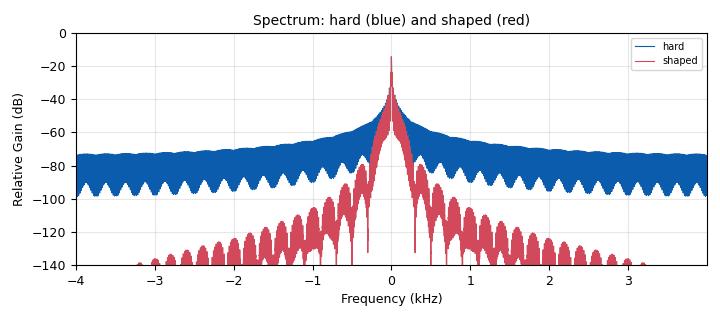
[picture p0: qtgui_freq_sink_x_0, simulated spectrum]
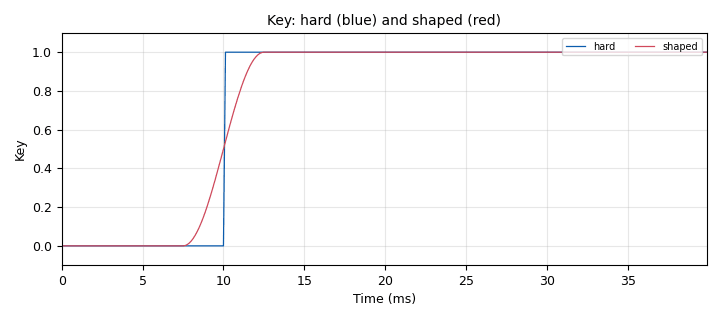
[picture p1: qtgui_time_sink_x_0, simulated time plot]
options:
  parameters:
    author: ECE 448
    description: 'L12: a Morse keyer, hard-keyed and with shaped edges, in time and in frequency. No hardware.'
    generate_options: qt_gui
    id: L12_cw_tx
    output_language: python
    title: L12 - CW Keyer
  states: {}

blocks:
- name: msg
  id: variable
  parameters:
    value: '''USAFA ECE 448'''
  states: {}
- name: rise
  id: variable_qtgui_range
  parameters:
    gui_hint: 0,1,1,1
    label: Edge time, shaped keyer (ms)
    start: '1'
    step: '0.5'
    stop: '10'
    value: '5'
  states: {}
- name: samp_rate
  id: variable
  parameters:
    value: '8000'
  states: {}
- name: wpm
  id: variable_qtgui_range
  parameters:
    gui_hint: 0,0,1,1
    label: Speed (WPM)
    start: '5'
    step: '1'
    stop: '40'
    value: '20'
  states: {}
- name: blocks_throttle2_0
  id: blocks_throttle2
  parameters:
    samples_per_second: samp_rate
    type: float
  states: {}
- name: blocks_throttle2_1
  id: blocks_throttle2
  parameters:
    samples_per_second: samp_rate
    type: float
  states: {}
- name: epy_block_0
  id: epy_block
  parameters:
    _source_code: |
      """Morse Keyer: repeats msg as Morse code, one float sample per sample
      period: 1 while the key is down and 0 while it is up. Each edge rises or
      falls along a raised cosine over rise_ms; rise_ms = 0 is hard keying.
      Timing follows the PARIS standard: a dit is one unit of 1.2/wpm seconds,
      a dah three, the gap inside a character one, between characters three,
      and between words seven."""

      import numpy as np
      from gnuradio import gr

      MORSE = {
          'A': '.-', 'B': '-...', 'C': '-.-.', 'D': '-..', 'E': '.', 'F': '..-.', 'G': '--.', 'H': '....',
          'I': '..', 'J': '.---', 'K': '-.-', 'L': '.-..', 'M': '--', 'N': '-.', 'O': '---', 'P': '.--.',
          'Q': '--.-', 'R': '.-.', 'S': '...', 'T': '-', 'U': '..-', 'V': '...-', 'W': '.--', 'X': '-..-',
          'Y': '-.--', 'Z': '--..', '0': '-----', '1': '.----', '2': '..---', '3': '...--', '4': '....-',
          '5': '.....', '6': '-....', '7': '--...', '8': '---..', '9': '----.', '.': '.-.-.-', ',': '--..--',
          '?': '..--..', '/': '-..-.', '=': '-...-', '-': '-....-',
      }


      class blk(gr.sync_block):
          def __init__(self, msg='PARIS', wpm=20.0, rise_ms=5.0, samp_rate=8000.0):
              gr.sync_block.__init__(self, name='Morse Keyer', in_sig=None, out_sig=[np.float32])
              self._msg, self._wpm, self._rise_ms, self.samp_rate = msg, wpm, rise_ms, samp_rate
              self.pos = 0
              self.build()

          # GRC assigns these when a slider or entry changes; each one rebuilds the
          # envelope and starts the message again.
          @property
          def msg(self): return self._msg
          @msg.setter
          def msg(self, v): self._msg = v; self.build()
          @property
          def wpm(self): return self._wpm
          @wpm.setter
          def wpm(self, v): self._wpm = v; self.build()
          @property
          def rise_ms(self): return self._rise_ms
          @rise_ms.setter
          def rise_ms(self, v): self._rise_ms = v; self.build()

          def build(self):
              units = []                                   # one 0 or 1 per unit
              for word in str(self._msg).upper().split():
                  for c in word:
                      for s in MORSE.get(c, ''):
                          units += [1] * (1 if s == '.' else 3) + [0]
                      units += [0, 0]                      # character gap: 3 units
                  units += [0] * 4                         # word gap: 7 units
              units = np.array(units or [0], dtype=np.float32)
              spu = 1.2 / self._wpm * self.samp_rate       # samples per unit
              n = int(round(len(units) * spu))
              key = units[np.minimum((np.arange(n) / spu).astype(int), len(units) - 1)]
              m = int(round(self._rise_ms * 1e-3 * self.samp_rate))
              if m >= 2:
                  # A half-sine pulse sums to a raised-cosine step, so filtering the
                  # hard-keyed waveform with it shapes every edge the same way.
                  h = np.sin(np.pi * (np.arange(m) + 0.5) / m)
                  h /= h.sum()
                  key = np.real(np.fft.ifft(np.fft.fft(key) * np.fft.fft(h, n)))
                  key = np.roll(key, -(m // 2)).astype(np.float32)
              self.env = key
              self.pos = 0

          def work(self, input_items, output_items):
              out = output_items[0]
              n, k = len(out), len(self.env)
              idx = (self.pos + np.arange(n)) % k
              out[:] = self.env[idx]
              self.pos = (self.pos + n) % k
              return n
    msg: msg
    rise_ms: '0'
    samp_rate: samp_rate
    wpm: wpm
  states: {}
- name: epy_block_1
  id: epy_block
  parameters:
    _source_code: |
      """Morse Keyer: repeats msg as Morse code, one float sample per sample
      period: 1 while the key is down and 0 while it is up. Each edge rises or
      falls along a raised cosine over rise_ms; rise_ms = 0 is hard keying.
      Timing follows the PARIS standard: a dit is one unit of 1.2/wpm seconds,
      a dah three, the gap inside a character one, between characters three,
      and between words seven."""

      import numpy as np
      from gnuradio import gr

      MORSE = {
          'A': '.-', 'B': '-...', 'C': '-.-.', 'D': '-..', 'E': '.', 'F': '..-.', 'G': '--.', 'H': '....',
          'I': '..', 'J': '.---', 'K': '-.-', 'L': '.-..', 'M': '--', 'N': '-.', 'O': '---', 'P': '.--.',
          'Q': '--.-', 'R': '.-.', 'S': '...', 'T': '-', 'U': '..-', 'V': '...-', 'W': '.--', 'X': '-..-',
          'Y': '-.--', 'Z': '--..', '0': '-----', '1': '.----', '2': '..---', '3': '...--', '4': '....-',
          '5': '.....', '6': '-....', '7': '--...', '8': '---..', '9': '----.', '.': '.-.-.-', ',': '--..--',
          '?': '..--..', '/': '-..-.', '=': '-...-', '-': '-....-',
      }


      class blk(gr.sync_block):
          def __init__(self, msg='PARIS', wpm=20.0, rise_ms=5.0, samp_rate=8000.0):
              gr.sync_block.__init__(self, name='Morse Keyer', in_sig=None, out_sig=[np.float32])
              self._msg, self._wpm, self._rise_ms, self.samp_rate = msg, wpm, rise_ms, samp_rate
              self.pos = 0
              self.build()

          # GRC assigns these when a slider or entry changes; each one rebuilds the
          # envelope and starts the message again.
          @property
          def msg(self): return self._msg
          @msg.setter
          def msg(self, v): self._msg = v; self.build()
          @property
          def wpm(self): return self._wpm
          @wpm.setter
          def wpm(self, v): self._wpm = v; self.build()
          @property
          def rise_ms(self): return self._rise_ms
          @rise_ms.setter
          def rise_ms(self, v): self._rise_ms = v; self.build()

          def build(self):
              units = []                                   # one 0 or 1 per unit
              for word in str(self._msg).upper().split():
                  for c in word:
                      for s in MORSE.get(c, ''):
                          units += [1] * (1 if s == '.' else 3) + [0]
                      units += [0, 0]                      # character gap: 3 units
                  units += [0] * 4                         # word gap: 7 units
              units = np.array(units or [0], dtype=np.float32)
              spu = 1.2 / self._wpm * self.samp_rate       # samples per unit
              n = int(round(len(units) * spu))
              key = units[np.minimum((np.arange(n) / spu).astype(int), len(units) - 1)]
              m = int(round(self._rise_ms * 1e-3 * self.samp_rate))
              if m >= 2:
                  # A half-sine pulse sums to a raised-cosine step, so filtering the
                  # hard-keyed waveform with it shapes every edge the same way.
                  h = np.sin(np.pi * (np.arange(m) + 0.5) / m)
                  h /= h.sum()
                  key = np.real(np.fft.ifft(np.fft.fft(key) * np.fft.fft(h, n)))
                  key = np.roll(key, -(m // 2)).astype(np.float32)
              self.env = key
              self.pos = 0

          def work(self, input_items, output_items):
              out = output_items[0]
              n, k = len(out), len(self.env)
              idx = (self.pos + np.arange(n)) % k
              out[:] = self.env[idx]
              self.pos = (self.pos + n) % k
              return n
    msg: msg
    rise_ms: rise
    samp_rate: samp_rate
    wpm: wpm
  states: {}
- name: qtgui_freq_sink_x_0
  id: qtgui_freq_sink_x
  parameters:
    bw: samp_rate
    fc: '0'
    fftsize: '8192'
    grid: 'True'
    gui_hint: 1,1,1,1
    label: '"Relative Gain"'
    label1: '"hard"'
    label2: '"shaped"'
    name: '"Spectrum: hard (blue) and shaped (red)"'
    nconnections: '2'
    type: float
    update_time: '0.1'
    ymax: '0'
  states: {}
- name: qtgui_time_sink_x_0
  id: qtgui_time_sink_x
  parameters:
    grid: 'True'
    gui_hint: 1,0,1,1
    label1: '"hard"'
    label2: '"shaped"'
    name: '"Key: hard (blue) and shaped (red)"'
    nconnections: '2'
    size: '320'
    srate: samp_rate
    tr_chan: '1'
    tr_delay: '0.01'
    tr_level: '0.5'
    tr_mode: qtgui.TRIG_MODE_NORM
    type: float
    update_time: '0.1'
    ylabel: '"Key"'
    ymax: '1.1'
    ymin: '-0.1'
  states: {}

connections:
- [blocks_throttle2_0, '0', qtgui_freq_sink_x_0, '0']
- [blocks_throttle2_0, '0', qtgui_time_sink_x_0, '0']
- [blocks_throttle2_1, '0', qtgui_freq_sink_x_0, '1']
- [blocks_throttle2_1, '0', qtgui_time_sink_x_0, '1']
- [epy_block_0, '0', blocks_throttle2_0, '0']
- [epy_block_1, '0', blocks_throttle2_1, '0']

metadata:
  file_format: 1
  grc_version: 3.10.9.2
